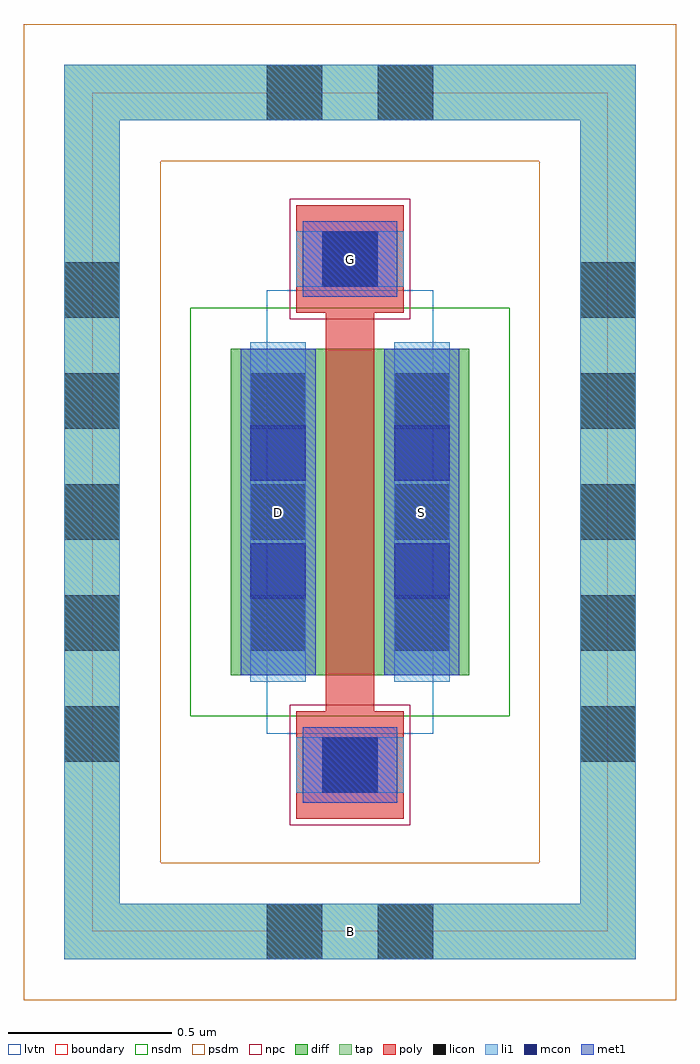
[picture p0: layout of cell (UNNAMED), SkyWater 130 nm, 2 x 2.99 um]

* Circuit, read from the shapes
.subckt (UNNAMED) B D G S
XM1 S G D B sky130_fd_pr__nfet_01v8_lvt w=1 l=0.15
.ends

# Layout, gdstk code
import gdstk
lib = gdstk.Library(unit=1e-6, precision=1e-09)
def R(c, l, rs):  # rectangles x0, y0, x1, y1
    for r in rs: c.add(gdstk.rectangle(r[:2], r[2:], *l))
def A(c, l, x, y, w, h, nx, ny, dx, dy):  # array of equal rectangles
    R(c, l, [(x+i*dx, y+j*dy, x+i*dx+w, y+j*dy+h) for i in range(nx) for j in range(ny)])
diff = (65, 20)
tap = (65, 44)
poly = (66, 20)
licon = (66, 44)
li1 = (67, 20)
mcon = (67, 44)
met1 = (68, 20)
nsdm = (93, 44)
psdm = (94, 20)
npc = (95, 20)
lvtn = (125, 44)
boundary = (235, 4)

c__unnamed_ = lib.new_cell('(UNNAMED)')
R(c__unnamed_, diff, [(-0.365,-0.5,0.365,0.5)])
R(c__unnamed_, tap, [(-0.875,-1.37,0.875,-1.2), (-0.875,-1.2,-0.705,1.2), (0.705,-1.2,0.875,1.2), (-0.875,1.2,0.875,1.37)])
R(c__unnamed_, poly, [(-0.165,-0.94,0.165,-0.61), (-0.075,-0.61,0.075,0.61), (-0.165,0.61,0.165,0.94)])
A(c__unnamed_, licon, -0.875, -0.765, 0.17, 0.17, 1, 5, 0, 0.34)
A(c__unnamed_, licon, 0.705, -0.765, 0.17, 0.17, 1, 5, 0, 0.34)
A(c__unnamed_, licon, -0.305, -0.425, 0.17, 0.17, 1, 3, 0, 0.34)
A(c__unnamed_, licon, 0.135, -0.425, 0.17, 0.17, 1, 3, 0, 0.34)
R(c__unnamed_, licon, [(-0.255,-1.37,-0.085,-1.2), (0.085,-1.37,0.255,-1.2), (-0.085,-0.86,0.085,-0.69), (-0.085,0.69,0.085,0.86), (-0.255,1.2,-0.085,1.37), (0.085,1.2,0.255,1.37)])
R(c__unnamed_, li1, [(-0.875,-1.37,0.875,-1.2), (-0.875,-1.2,-0.705,1.2), (0.705,-1.2,0.875,1.2), (-0.165,-0.86,0.165,-0.69), (-0.305,-0.52,-0.135,0.52), (0.135,-0.52,0.305,0.52), (-0.165,0.69,0.165,0.86), (-0.875,1.2,0.875,1.37)])
R(c__unnamed_, mcon, [(-0.085,-0.86,0.085,-0.69), (-0.305,-0.265,-0.135,-0.095), (0.135,-0.265,0.305,-0.095), (-0.305,0.095,-0.135,0.265), (0.135,0.095,0.305,0.265), (-0.085,0.69,0.085,0.86)])
R(c__unnamed_, met1, [(-0.145,-0.89,0.145,-0.66), (-0.335,-0.5,-0.105,0.5), (0.105,-0.5,0.335,0.5), (-0.145,0.66,0.145,0.89)])
R(c__unnamed_, nsdm, [(-0.49,-0.625,0.49,0.625)])
R(c__unnamed_, psdm, [(-1,-1.495,1,-1.075), (-1,-1.075,-0.58,1.075), (0.58,-1.075,1,1.075), (-1,1.075,1,1.495)])
R(c__unnamed_, npc, [(-0.185,-0.96,0.185,-0.59), (-0.185,0.59,0.185,0.96)])
R(c__unnamed_, lvtn, [(-0.255,-0.68,0.255,0.68)])
R(c__unnamed_, boundary, [(-0.79,-1.285,0.79,1.285)])
c__unnamed_.add(gdstk.Label('B', (0,-1.285), layer=67, texttype=5))
c__unnamed_.add(gdstk.Label('D', (-0.22,0), layer=67, texttype=5))
c__unnamed_.add(gdstk.Label('S', (0.22,0), layer=67, texttype=5))
c__unnamed_.add(gdstk.Label('G', (0,0.775), layer=67, texttype=5))

lib.write_gds('_UNNAMED_.gds')
